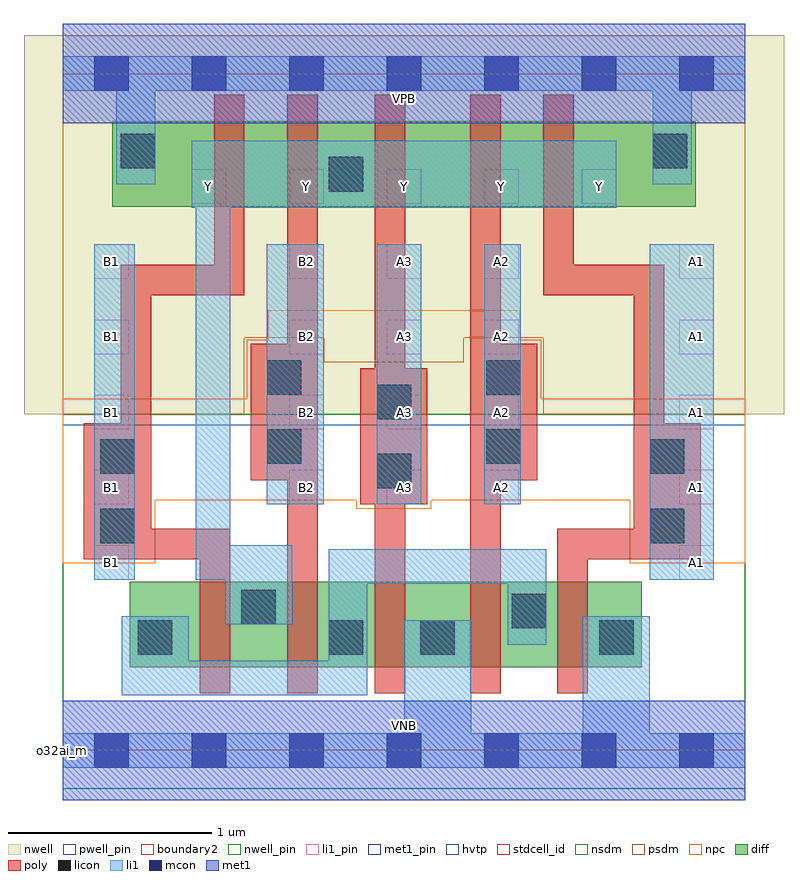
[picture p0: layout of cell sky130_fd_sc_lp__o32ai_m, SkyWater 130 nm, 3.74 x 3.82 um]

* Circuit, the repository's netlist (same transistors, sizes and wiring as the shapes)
* Copyright 2020 The SkyWater PDK Authors
*
* Licensed under the Apache License, Version 2.0 (the "License");
* you may not use this file except in compliance with the License.
* You may obtain a copy of the License at
*
*     https://www.apache.org/licenses/LICENSE-2.0
*
* Unless required by applicable law or agreed to in writing, software
* distributed under the License is distributed on an "AS IS" BASIS,
* WITHOUT WARRANTIES OR CONDITIONS OF ANY KIND, either express or implied.
* See the License for the specific language governing permissions and
* limitations under the License.
*
* SPDX-License-Identifier: Apache-2.0

.SUBCKT sky130_fd_sc_lp__o32ai_m A1 A2 A3 B1 B2 VGND VNB VPB VPWR Y
*.PININFO A1:I A2:I A3:I B1:I B2:I VGND:I VNB:I VPB:I VPWR:I Y:O
MMPA0 VPWR A1 sndA1 VPB sky130_fd_pr__pfet_01v8_hvt m=1 w=0.42U l=0.15U mult=1
+ sa=0.265 sb=0.265 sd=0.28 area=0.063 perim=1.14
MMPA1 sndA1 A2 sndA2 VPB sky130_fd_pr__pfet_01v8_hvt m=1 w=0.42U l=0.15U mult=1
+ sa=0.265 sb=0.265 sd=0.28 area=0.063 perim=1.14
MMPA2 sndA2 A3 Y VPB sky130_fd_pr__pfet_01v8_hvt m=1 w=0.42U l=0.15U mult=1 sa=0.265
+ sb=0.265 sd=0.28 area=0.063 perim=1.14
MMPB0 VPWR B1 sndB1 VPB sky130_fd_pr__pfet_01v8_hvt m=1 w=0.42U l=0.15U mult=1
+ sa=0.265 sb=0.265 sd=0.28 area=0.063 perim=1.14
MMPB1 sndB1 B2 Y VPB sky130_fd_pr__pfet_01v8_hvt m=1 w=0.42U l=0.15U mult=1 sa=0.265
+ sb=0.265 sd=0.28 area=0.063 perim=1.14
MMNA0 pndA A1 VGND VNB sky130_fd_pr__nfet_01v8 m=1 w=0.42U l=0.15U mult=1 sa=0.265
+ sb=0.265 sd=0.28 area=0.063 perim=1.14
MMNA1 pndA A2 VGND VNB sky130_fd_pr__nfet_01v8 m=1 w=0.42U l=0.15U mult=1 sa=0.265
+ sb=0.265 sd=0.28 area=0.063 perim=1.14
MMNA2 pndA A3 VGND VNB sky130_fd_pr__nfet_01v8 m=1 w=0.42U l=0.15U mult=1 sa=0.265
+ sb=0.265 sd=0.28 area=0.063 perim=1.14
MMNB0 Y B1 pndA VNB sky130_fd_pr__nfet_01v8 m=1 w=0.42U l=0.15U mult=1 sa=0.265
+ sb=0.265 sd=0.28 area=0.063 perim=1.14
MMNB1 Y B2 pndA VNB sky130_fd_pr__nfet_01v8 m=1 w=0.42U l=0.15U mult=1 sa=0.265
+ sb=0.265 sd=0.28 area=0.063 perim=1.14
.ENDS sky130_fd_sc_lp__o32ai_m

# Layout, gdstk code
import gdstk
lib = gdstk.Library(unit=1e-6, precision=1e-09)
def R(c, l, rs):  # rectangles x0, y0, x1, y1
    for r in rs: c.add(gdstk.rectangle(r[:2], r[2:], *l))
def A(c, l, x, y, w, h, nx, ny, dx, dy):  # array of equal rectangles
    R(c, l, [(x+i*dx, y+j*dy, x+i*dx+w, y+j*dy+h) for i in range(nx) for j in range(ny)])
def P(c, l, *ps):  # polygons
    for p in ps: c.add(gdstk.Polygon(p, *l))
nwell_pin = (64, 16)
nwell = (64, 20)
diff = (65, 20)
poly = (66, 20)
licon = (66, 44)
li1_pin = (67, 16)
li1 = (67, 20)
mcon = (67, 44)
met1_pin = (68, 16)
met1 = (68, 20)
hvtp = (78, 44)
stdcell_id = (81, 4)
nsdm = (93, 44)
psdm = (94, 20)
npc = (95, 20)
pwell_pin = (122, 16)
boundary2 = (236, 0)

sky130_fd_sc_lp__o32ai_m = lib.new_cell('sky130_fd_sc_lp__o32ai_m')
R(sky130_fd_sc_lp__o32ai_m, nwell_pin, [(0,3.085,3.36,3.33)])
R(sky130_fd_sc_lp__o32ai_m, nwell, [(-0.19,1.655,3.55,3.52)])
R(sky130_fd_sc_lp__o32ai_m, diff, [(0.33,0.41,2.85,0.83), (0.245,2.675,3.115,3.095)])
P(sky130_fd_sc_lp__o32ai_m, poly, [(0.895,3.225),(0.745,3.225),(0.745,2.39),(0.285,2.39),(0.285,1.61),(0.105,1.61),(0.105,0.94),(0.675,0.94),(0.675,0.28),(0.825,0.28),(0.825,1.09),(0.435,1.09),(0.435,2.24),(0.895,2.24)],
  [(1.255,3.225),(1.105,3.225),(1.105,2),(0.925,2),(0.925,1.33),(1.105,1.33),(1.105,0.28),(1.255,0.28)],
  [(1.795,1.88),(1.685,1.88),(1.685,3.225),(1.535,3.225),(1.535,1.88),(1.465,1.88),(1.465,1.21),(1.535,1.21),(1.535,0.28),(1.685,0.28),(1.685,1.21),(1.795,1.21)],
  [(2.335,2),(2.155,2),(2.155,3.225),(2.005,3.225),(2.005,0.28),(2.155,0.28),(2.155,1.33),(2.335,1.33)],
  [(3.14,1.61),(2.96,1.61),(2.96,2.39),(2.515,2.39),(2.515,3.225),(2.365,3.225),(2.365,2.24),(2.81,2.24),(2.81,1.09),(2.435,1.09),(2.435,0.28),(2.585,0.28),(2.585,0.94),(3.14,0.94)])
R(sky130_fd_sc_lp__o32ai_m, licon, [(0.37,0.47,0.54,0.64), (1.31,0.47,1.48,0.64), (1.76,0.47,1.93,0.64), (2.64,0.47,2.81,0.64), (2.21,0.6,2.38,0.77), (0.88,0.62,1.05,0.79), (0.185,1.02,0.355,1.19), (2.89,1.02,3.06,1.19), (1.545,1.29,1.715,1.46), (0.185,1.36,0.355,1.53), (2.89,1.36,3.06,1.53), (1.005,1.41,1.175,1.58), (2.085,1.41,2.255,1.58), (1.545,1.63,1.715,1.8), (1.005,1.75,1.175,1.92), (2.085,1.75,2.255,1.92), (1.31,2.75,1.48,2.92), (0.285,2.865,0.455,3.035), (2.905,2.865,3.075,3.035)])
A(sky130_fd_sc_lp__o32ai_m, li1_pin, 0.155, 0.84, 0.17, 0.17, 1, 5, 0, 0.37)
A(sky130_fd_sc_lp__o32ai_m, li1_pin, 3.035, 0.84, 0.17, 0.17, 1, 5, 0, 0.37)
A(sky130_fd_sc_lp__o32ai_m, li1_pin, 1.115, 1.21, 0.17, 0.17, 3, 4, 0.48, 0.37)
A(sky130_fd_sc_lp__o32ai_m, li1_pin, 0.635, 2.69, 0.17, 0.17, 5, 1, 0.48, 0)
R(sky130_fd_sc_lp__o32ai_m, li1, [(0.155,0.84,0.355,2.49), (2.89,0.84,3.205,2.49), (1.005,1.21,1.285,2.49), (1.545,1.21,1.765,2.49), (2.075,1.21,2.255,2.49)])
P(sky130_fd_sc_lp__o32ai_m, li1, [(2.905,2.785),(2.905,3.245),(0.455,3.245),(0.455,2.785),(0.265,2.785),(0.265,3.245),(0,3.245),(0,3.415),(3.36,3.415),(3.36,3.245),(3.095,3.245),(3.095,2.785)],
  [(1.68,0.085),(1.68,0.64),(2.01,0.64),(2.01,0.085),(2.56,0.085),(2.56,0.66),(2.89,0.66),(2.89,0.085),(3.36,0.085),(3.36,-0.085),(0,-0.085),(0,0.085)],
  [(0.635,2.67),(0.635,3),(2.725,3),(2.725,2.67),(0.825,2.67),(0.825,1.01),(1.13,1.01),(1.13,0.62),(0.8,0.62),(0.8,0.84),(0.655,0.84),(0.655,2.67)],
  [(2.19,0.82),(1.5,0.82),(1.5,0.27),(0.29,0.27),(0.29,0.66),(0.62,0.66),(0.62,0.44),(1.31,0.44),(1.31,0.99),(2.38,0.99),(2.38,0.52),(2.19,0.52)])
A(sky130_fd_sc_lp__o32ai_m, mcon, 0.155, -0.085, 0.17, 0.17, 7, 2, 0.48, 3.33)
R(sky130_fd_sc_lp__o32ai_m, met1_pin, [(0,0,3.36,0.245), (0,3.085,3.36,3.33)])
R(sky130_fd_sc_lp__o32ai_m, met1, [(0,-0.245,3.36,0.245), (0,3.085,3.36,3.575)])
R(sky130_fd_sc_lp__o32ai_m, hvtp, [(0,1.6,3.36,3.33)])
R(sky130_fd_sc_lp__o32ai_m, stdcell_id, [(0,0,3.36,3.33)])
R(sky130_fd_sc_lp__o32ai_m, nsdm, [(0,-0.19,3.36,1.655)])
P(sky130_fd_sc_lp__o32ai_m, psdm, [(3.36,3.52),(0,3.52),(0,1.655),(0.895,1.655),(0.895,2.03),(1.285,2.03),(1.285,1.91),(1.975,1.91),(1.975,2.03),(2.365,2.03),(2.365,1.655),(3.36,1.655)])
P(sky130_fd_sc_lp__o32ai_m, npc, [(3.36,1.73),(2.355,1.73),(2.355,2.02),(2.25,2.02),(2.25,2.165),(1.01,2.165),(1.01,2.02),(0.905,2.02),(0.905,1.73),(0,1.73),(0,0.92),(0.455,0.92),(0.455,1.23),(1.445,1.23),(1.445,1.19),(1.815,1.19),(1.815,1.23),(2.79,1.23),(2.79,0.92),(3.36,0.92)])
R(sky130_fd_sc_lp__o32ai_m, pwell_pin, [(0,0,3.36,0.245)])
R(sky130_fd_sc_lp__o32ai_m, boundary2, [(0,0,3.36,3.33)])
sky130_fd_sc_lp__o32ai_m.add(gdstk.Label('VNB', (1.68,0.123), layer=64, texttype=59))
sky130_fd_sc_lp__o32ai_m.add(gdstk.Label('VPB', (1.68,3.208), layer=64, texttype=5))
sky130_fd_sc_lp__o32ai_m.add(gdstk.Label('o32ai_m', (0,0), layer=83, texttype=44))
sky130_fd_sc_lp__o32ai_m.add(gdstk.Label('VPWR', (1.68,3.208), layer=68, texttype=5))
sky130_fd_sc_lp__o32ai_m.add(gdstk.Label('VGND', (1.68,0.123), layer=68, texttype=5))
sky130_fd_sc_lp__o32ai_m.add(gdstk.Label('A1', (3.12,0.925), layer=67, texttype=5))
sky130_fd_sc_lp__o32ai_m.add(gdstk.Label('A1', (3.12,1.295), layer=67, texttype=5))
sky130_fd_sc_lp__o32ai_m.add(gdstk.Label('A1', (3.12,1.665), layer=67, texttype=5))
sky130_fd_sc_lp__o32ai_m.add(gdstk.Label('A1', (3.12,2.035), layer=67, texttype=5))
sky130_fd_sc_lp__o32ai_m.add(gdstk.Label('A1', (3.12,2.405), layer=67, texttype=5))
sky130_fd_sc_lp__o32ai_m.add(gdstk.Label('A2', (2.16,1.295), layer=67, texttype=5))
sky130_fd_sc_lp__o32ai_m.add(gdstk.Label('A2', (2.16,1.665), layer=67, texttype=5))
sky130_fd_sc_lp__o32ai_m.add(gdstk.Label('A2', (2.16,2.035), layer=67, texttype=5))
sky130_fd_sc_lp__o32ai_m.add(gdstk.Label('A2', (2.16,2.405), layer=67, texttype=5))
sky130_fd_sc_lp__o32ai_m.add(gdstk.Label('A3', (1.68,1.295), layer=67, texttype=5))
sky130_fd_sc_lp__o32ai_m.add(gdstk.Label('A3', (1.68,1.665), layer=67, texttype=5))
sky130_fd_sc_lp__o32ai_m.add(gdstk.Label('A3', (1.68,2.035), layer=67, texttype=5))
sky130_fd_sc_lp__o32ai_m.add(gdstk.Label('A3', (1.68,2.405), layer=67, texttype=5))
sky130_fd_sc_lp__o32ai_m.add(gdstk.Label('B1', (0.24,0.925), layer=67, texttype=5))
sky130_fd_sc_lp__o32ai_m.add(gdstk.Label('B1', (0.24,1.295), layer=67, texttype=5))
sky130_fd_sc_lp__o32ai_m.add(gdstk.Label('B1', (0.24,1.665), layer=67, texttype=5))
sky130_fd_sc_lp__o32ai_m.add(gdstk.Label('B1', (0.24,2.035), layer=67, texttype=5))
sky130_fd_sc_lp__o32ai_m.add(gdstk.Label('B1', (0.24,2.405), layer=67, texttype=5))
sky130_fd_sc_lp__o32ai_m.add(gdstk.Label('B2', (1.2,1.295), layer=67, texttype=5))
sky130_fd_sc_lp__o32ai_m.add(gdstk.Label('B2', (1.2,1.665), layer=67, texttype=5))
sky130_fd_sc_lp__o32ai_m.add(gdstk.Label('B2', (1.2,2.035), layer=67, texttype=5))
sky130_fd_sc_lp__o32ai_m.add(gdstk.Label('B2', (1.2,2.405), layer=67, texttype=5))
sky130_fd_sc_lp__o32ai_m.add(gdstk.Label('Y', (0.72,2.775), layer=67, texttype=5))
sky130_fd_sc_lp__o32ai_m.add(gdstk.Label('Y', (1.2,2.775), layer=67, texttype=5))
sky130_fd_sc_lp__o32ai_m.add(gdstk.Label('Y', (1.68,2.775), layer=67, texttype=5))
sky130_fd_sc_lp__o32ai_m.add(gdstk.Label('Y', (2.16,2.775), layer=67, texttype=5))
sky130_fd_sc_lp__o32ai_m.add(gdstk.Label('Y', (2.64,2.775), layer=67, texttype=5))

lib.write_gds('sky130_fd_sc_lp__o32ai_m.gds')
